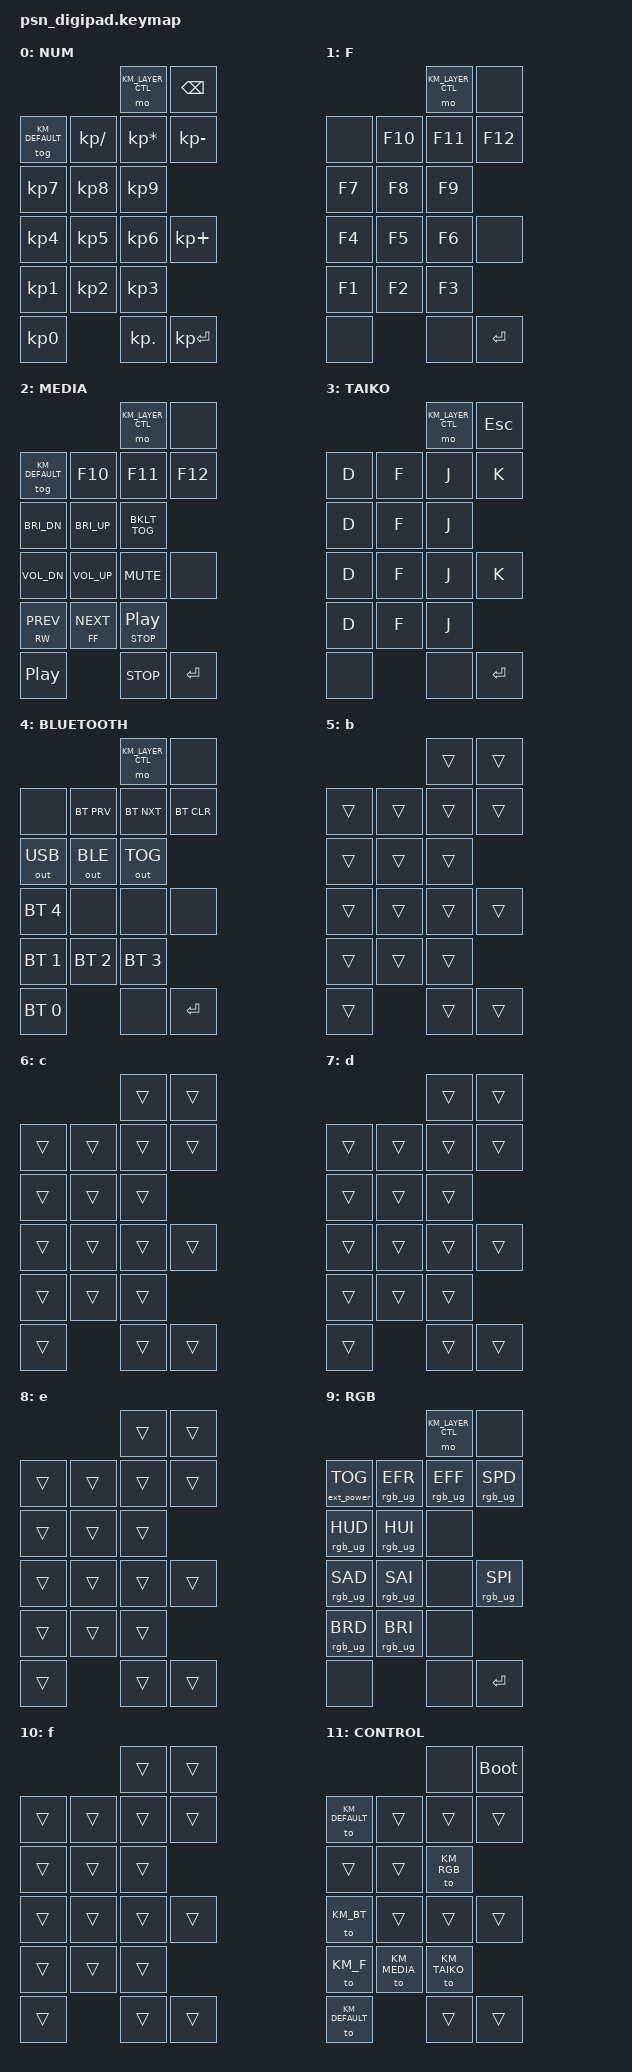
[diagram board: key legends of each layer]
/*
 * Copyright (c) 2020 The ZMK Contributors
 *
 * SPDX-License-Identifier: MIT
 */

#include <behaviors.dtsi>
#include <dt-bindings/zmk/keys.h>
#include <dt-bindings/zmk/bt.h>
#include <dt-bindings/zmk/outputs.h>
#include <dt-bindings/zmk/rgb.h>
#include <dt-bindings/zmk/ext_power.h>


#define KM_DEFAULT 0
#define KM_F 1
#define KM_MEDIA 2
#define KM_TAIKO 3
#define KM_BT 4
#define KM_RGB 9
#define KM_TEST 10
#define KM_LAYER_CTL 11

/ {
	behaviors {
        ht: hold_tap {
            compatible = "zmk,behavior-hold-tap";
            label = "POSITIONAL_HOLD_TAP";
            flavor = "hold-preferred";
            #binding-cells = <2>;
            tapping-term-ms = <400>;
            quick-tap-ms = <200>;
            bindings = <&kp>, <&kp>;
        };
    };

	keymap {
		compatible = "zmk,keymap";

		// Layer 0
		default_layer {
			label = "NUM";
			bindings = <
	                        		&mo KM_LAYER_CTL       	&kp BKSP
	&tog KM_DEFAULT &kp KP_DIVIDE   &kp KP_MULTIPLY &kp KP_SUBTRACT 
	&kp KP_N7 		&kp KP_N8 		&kp KP_N9
	&kp KP_N4 		&kp KP_N5 		&kp KP_N6 		&kp KP_PLUS
	&kp KP_N1 		&kp KP_N2 		&kp KP_N3
	&kp KP_N0       				&kp KP_DOT 		&kp KP_ENTER
			>;
		};

		// Layer 1
		f_layer {
			label = "F";
			bindings = <
	                        		&mo KM_LAYER_CTL   &none
	&none     		&kp F10			&kp F11 		&kp F12 
	&kp F7 			&kp F8 			&kp F9
	&kp F4 			&kp F5 			&kp F6			&none
	&kp F1 			&kp F2 			&kp F3
	&none       					&none 			&kp ENTER
			>;
		};

		// Layer 2
		media_layer {
			label = "MEDIA";
			bindings = <
	                        		&mo KM_LAYER_CTL 	&none
	&tog KM_DEFAULT &kp F10			&kp F11 		&kp F12 
	&kp C_BRI_DN	&kp C_BRI_UP	&kp C_BKLT_TOG
	&kp C_VOL_DN	&kp C_VOL_UP	&kp C_MUTE 		&none
	&ht C_RW C_PREV	&ht C_FF C_NEXT	&ht C_STOP C_PP	
	&kp C_PP       					&kp C_STOP		&kp ENTER
			>;
		};

		// Layer 3
		taiko_layer {
			label = "TAIKO";
			bindings = <
	                        		&mo KM_LAYER_CTL   &kp ESC
	&kp D     		&kp F			&kp J 			&kp K 
	&kp D 			&kp F 			&kp J
	&kp D     		&kp F			&kp J 			&kp K 
	&kp D 			&kp F 			&kp J
	&none       					&none 			&kp ENTER
			>;
		};

		// Layer 4
		bt_layer {
			label = "BLUETOOTH";
			bindings = <
	                        		&mo KM_LAYER_CTL   &none
	&none     		&bt BT_PRV		&bt BT_NXT 		&bt BT_CLR 
	&out OUT_USB 	&out OUT_BLE 	&out OUT_TOG
	&bt BT_SEL 4 	&none 			&none			&none
	&bt BT_SEL 1 	&bt BT_SEL 2	&bt BT_SEL 3
	&bt BT_SEL 0       				&none 			&kp ENTER
			>;
		};

		// Layer 5
		b {
			bindings = <
	                        		&trans       	&trans
	&trans     		&trans   		&trans 			&trans 
	&trans     		&trans   		&trans
	&trans     		&trans   		&trans 			&trans 
	&trans     		&trans   		&trans
	&trans     						&trans   		&trans
			>;
		};

		// Layer 6
		c {
			bindings = <
	                        		&trans       	&trans
	&trans     		&trans   		&trans 			&trans 
	&trans     		&trans   		&trans
	&trans     		&trans   		&trans 			&trans 
	&trans     		&trans   		&trans
	&trans     						&trans   		&trans
			>;
		};

		// Layer 7
		d {
			bindings = <
	                        		&trans       	&trans
	&trans     		&trans   		&trans 			&trans 
	&trans     		&trans   		&trans
	&trans     		&trans   		&trans 			&trans 
	&trans     		&trans   		&trans
	&trans     						&trans   		&trans
			>;
		};

		// Layer 8
		e {
			bindings = <
	                        		&trans       	&trans
	&trans     		&trans   		&trans 			&trans 
	&trans     		&trans   		&trans
	&trans     		&trans   		&trans 			&trans 
	&trans     		&trans   		&trans
	&trans     						&trans   		&trans
			>;
		};

		// Layer 9
		rgb_layer {
			label = "RGB";
			bindings = <
	                        		&mo KM_LAYER_CTL   &none
	&ext_power EP_TOG &rgb_ug RGB_EFR	&rgb_ug RGB_EFF	&rgb_ug RGB_SPD 
	&rgb_ug RGB_HUD &rgb_ug RGB_HUI	&none
	&rgb_ug RGB_SAD &rgb_ug RGB_SAI	&none			&rgb_ug RGB_SPI
	&rgb_ug RGB_BRD	&rgb_ug RGB_BRI	&none
	&none       					&none 			&kp ENTER
			>;
		};

		// Layer 10
		f {
			bindings = <
	                        		&trans       	&trans
	&trans     		&trans   		&trans 			&trans 
	&trans     		&trans   		&trans
	&trans     		&trans   		&trans 			&trans 
	&trans     		&trans   		&trans
	&trans     						&trans   		&trans
			>;
		};

		// Layer 11
		control_layer {
			label = "CONTROL";
			bindings = <
	                        		&none       	&bootloader
	&to KM_DEFAULT	&trans   		&trans 			&trans 
	&trans     		&trans   		&to KM_RGB
	&to KM_BT     	&trans   		&trans 			&trans 
	&to KM_F     	&to KM_MEDIA   	&to KM_TAIKO
	&to KM_DEFAULT					&trans   		&trans
			>;
		};

	};
};
